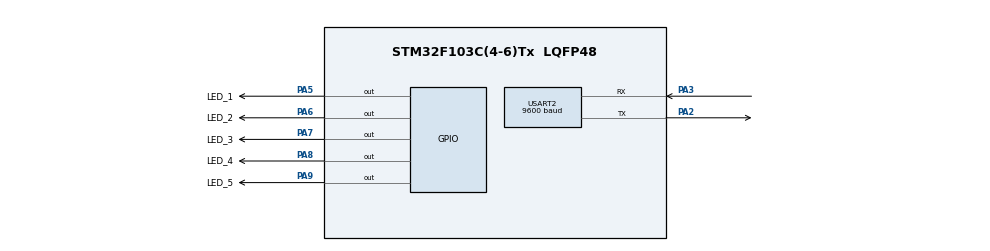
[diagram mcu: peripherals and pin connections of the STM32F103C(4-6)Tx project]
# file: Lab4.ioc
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Mcu.Family=STM32F1
Mcu.Name=STM32F103C(4-6)Tx
Mcu.Package=LQFP48
NVIC.PriorityGroup=NVIC_PRIORITYGROUP_4
NVIC.TIM2_IRQn=true\:0\:0\:false\:false\:true\:true\:true\:true
NVIC.USART2_IRQn=true\:0\:0\:false\:false\:true\:true\:true\:true
PA2.Mode=Asynchronous
PA2.Signal=USART2_TX
PA3.Mode=Asynchronous
PA3.Signal=USART2_RX
PA5.GPIO_Label=LED_1
PA5.Signal=GPIO_Output
PA6.GPIO_Label=LED_2
PA6.Signal=GPIO_Output
PA7.GPIO_Label=LED_3
PA7.Signal=GPIO_Output
PA8.GPIO_Label=LED_4
PA8.Signal=GPIO_Output
PA9.GPIO_Label=LED_5
PA9.Signal=GPIO_Output
ProjectManager.HeapSize=0x200
ProjectManager.StackSize=0x400
ProjectManager.TargetToolchain=STM32CubeIDE
RCC.APB1Freq_Value=8000000
RCC.APB2Freq_Value=8000000
TIM2.Period=9
TIM2.Prescaler=7999
USART2.BaudRate=9600
USART2.VirtualMode=VM_ASYNC
VP_TIM2_VS_ClockSourceINT.Mode=Internal
board=custom

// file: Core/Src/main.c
/* USER CODE BEGIN Header */
/**
  ******************************************************************************
  * @file           : main.c
  * @brief          : Main program body
  ******************************************************************************
  * @attention
  *
  * Copyright (c) 2023 STMicroelectronics.
  * All rights reserved.
  *
  * This software is licensed under terms that can be found in the LICENSE file
  * in the root directory of this software component.
  * If no LICENSE file comes with this software, it is provided AS-IS.
  *
  ******************************************************************************
  */
/* USER CODE END Header */
#include "main.h"

/* USER CODE BEGIN Includes */
#include "global.h"
#include "scheduler.h"
#include "software_timer.h"
#include <stdio.h>
/* USER CODE END Includes */

TIM_HandleTypeDef htim2;

UART_HandleTypeDef huart2;

void SystemClock_Config(void);
static void MX_GPIO_Init(void);
static void MX_TIM2_Init(void);
static void MX_USART2_UART_Init(void);

void led_1_test() {
	  HAL_GPIO_TogglePin(LED_1_GPIO_Port, LED_1_Pin);
  }
  void led_2_test() {
	  HAL_GPIO_TogglePin(LED_2_GPIO_Port, LED_2_Pin);
  }
  void led_3_test() {
	  HAL_GPIO_TogglePin(LED_3_GPIO_Port, LED_3_Pin);
  }
  void led_4_test() {
	  HAL_GPIO_TogglePin(LED_4_GPIO_Port, LED_4_Pin);
  }
  void led_5_test() {
	  HAL_GPIO_TogglePin(LED_5_GPIO_Port, LED_5_Pin);
  }

int main(void)
{

  /* MCU Configuration--------------------------------------------------------*/

  /* Reset of all peripherals, Initializes the Flash interface and the Systick. */
  HAL_Init();

  /* Configure the system clock */
  SystemClock_Config();

  /* Initialize all configured peripherals */
  MX_GPIO_Init();
  MX_TIM2_Init();
  MX_USART2_UART_Init();
  /* USER CODE BEGIN 2 */

  HAL_TIM_Base_Start_IT(&htim2);
  SCH_Init();
  SCH_Add_Task(led_1_test, 0, 50);
  SCH_Add_Task(led_2_test, 0, 100);
  SCH_Add_Task(led_3_test, 0, 150);
  SCH_Add_Task(led_4_test, 0, 200);
  SCH_Add_Task(led_5_test, 250, 0);
  /* USER CODE END 2 */

  /* Infinite loop */
  while (1)
  {

    /* USER CODE BEGIN 3 */
	  SCH_Dispatch_Tasks();

  }
  /* USER CODE END 3 */
}

void SystemClock_Config(void)
{
  RCC_OscInitTypeDef RCC_OscInitStruct = {0};
  RCC_ClkInitTypeDef RCC_ClkInitStruct = {0};

  /** Initializes the RCC Oscillators according to the specified parameters
  * in the RCC_OscInitTypeDef structure.
  */
  RCC_OscInitStruct.OscillatorType = RCC_OSCILLATORTYPE_HSI;
  RCC_OscInitStruct.HSIState = RCC_HSI_ON;
  RCC_OscInitStruct.HSICalibrationValue = RCC_HSICALIBRATION_DEFAULT;
  RCC_OscInitStruct.PLL.PLLState = RCC_PLL_NONE;
  if (HAL_RCC_OscConfig(&RCC_OscInitStruct) != HAL_OK)
  {
    Error_Handler();
  }

  /** Initializes the CPU, AHB and APB buses clocks
  */
  RCC_ClkInitStruct.ClockType = RCC_CLOCKTYPE_HCLK|RCC_CLOCKTYPE_SYSCLK
                              |RCC_CLOCKTYPE_PCLK1|RCC_CLOCKTYPE_PCLK2;
  RCC_ClkInitStruct.SYSCLKSource = RCC_SYSCLKSOURCE_HSI;
  RCC_ClkInitStruct.AHBCLKDivider = RCC_SYSCLK_DIV1;
  RCC_ClkInitStruct.APB1CLKDivider = RCC_HCLK_DIV1;
  RCC_ClkInitStruct.APB2CLKDivider = RCC_HCLK_DIV1;

  if (HAL_RCC_ClockConfig(&RCC_ClkInitStruct, FLASH_LATENCY_0) != HAL_OK)
  {
    Error_Handler();
  }
}

static void MX_TIM2_Init(void)
{

  TIM_ClockConfigTypeDef sClockSourceConfig = {0};
  TIM_MasterConfigTypeDef sMasterConfig = {0};

  htim2.Instance = TIM2;
  htim2.Init.Prescaler = 7999;
  htim2.Init.CounterMode = TIM_COUNTERMODE_UP;
  htim2.Init.Period = 9;
  htim2.Init.ClockDivision = TIM_CLOCKDIVISION_DIV1;
  htim2.Init.AutoReloadPreload = TIM_AUTORELOAD_PRELOAD_DISABLE;
  if (HAL_TIM_Base_Init(&htim2) != HAL_OK)
  {
    Error_Handler();
  }
  sClockSourceConfig.ClockSource = TIM_CLOCKSOURCE_INTERNAL;
  if (HAL_TIM_ConfigClockSource(&htim2, &sClockSourceConfig) != HAL_OK)
  {
    Error_Handler();
  }
  sMasterConfig.MasterOutputTrigger = TIM_TRGO_RESET;
  sMasterConfig.MasterSlaveMode = TIM_MASTERSLAVEMODE_DISABLE;
  if (HAL_TIMEx_MasterConfigSynchronization(&htim2, &sMasterConfig) != HAL_OK)
  {
    Error_Handler();
  }

}

static void MX_USART2_UART_Init(void)
{

  huart2.Instance = USART2;
  huart2.Init.BaudRate = 9600;
  huart2.Init.WordLength = UART_WORDLENGTH_8B;
  huart2.Init.StopBits = UART_STOPBITS_1;
  huart2.Init.Parity = UART_PARITY_NONE;
  huart2.Init.Mode = UART_MODE_TX_RX;
  huart2.Init.HwFlowCtl = UART_HWCONTROL_NONE;
  huart2.Init.OverSampling = UART_OVERSAMPLING_16;
  if (HAL_UART_Init(&huart2) != HAL_OK)
  {
    Error_Handler();
  }

}

static void MX_GPIO_Init(void)
{
  GPIO_InitTypeDef GPIO_InitStruct = {0};

  /* GPIO Ports Clock Enable */
  __HAL_RCC_GPIOA_CLK_ENABLE();

  /*Configure GPIO pin Output Level */
  HAL_GPIO_WritePin(GPIOA, LED_1_Pin|LED_2_Pin|LED_3_Pin|LED_4_Pin
                          |LED_5_Pin, GPIO_PIN_RESET);

  /*Configure GPIO pins : LED_1_Pin LED_2_Pin LED_3_Pin LED_4_Pin
                           LED_5_Pin */
  GPIO_InitStruct.Pin = LED_1_Pin|LED_2_Pin|LED_3_Pin|LED_4_Pin
                          |LED_5_Pin;
  GPIO_InitStruct.Mode = GPIO_MODE_OUTPUT_PP;
  GPIO_InitStruct.Pull = GPIO_NOPULL;
  GPIO_InitStruct.Speed = GPIO_SPEED_FREQ_LOW;
  HAL_GPIO_Init(GPIOA, &GPIO_InitStruct);

}

/* USER CODE BEGIN 4 */
char str[20];
int counter = 10;
void HAL_TIM_PeriodElapsedCallback(TIM_HandleTypeDef *htim){
	if (htim->Instance == TIM2) {

		SCH_Update();
		counter--;
		if(counter <= 0){
			counter = 10;
			uint32_t time = HAL_GetTick();
			HAL_UART_Transmit(&huart2, str, sprintf(str, "Task %d is execute in %d\r\n", status, time), 5);
		}

	}
}
/* USER CODE END 4 */

void Error_Handler(void)
{
  __disable_irq();
  while (1)
  {
  }
}
